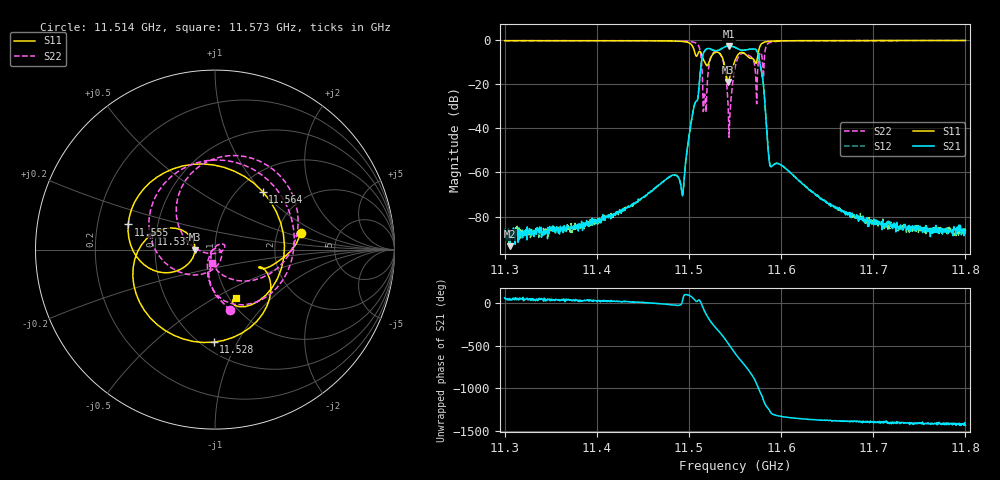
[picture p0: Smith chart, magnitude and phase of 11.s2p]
# Hz S DB R 50
! Planar, S50244, 24171007, 25.4.1/6
! Date: 15.10.2025 10:28:26
! Data: Format (Calibration Info)
! Freq	S11:dB/Ang(F2)	S21:dB/Ang(F2)	S12:dB/Ang(F2)	S22:dB/Ang(F2)
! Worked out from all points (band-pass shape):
!   1001 points, 11.3 GHz to 11.8 GHz, reference 50 ohm
!   highest |S21| = -2.77 dB at 11.543 GHz (marker M1); lowest = -93.4 dB at 11.306 GHz (marker M2)
!   |S21| within 3 dB of the highest: 11.516 GHz to 11.575 GHz (58.62 MHz wide, 0.508 % of centre)
!   lowest |S11| = -19.1 dB at 11.543 GHz (marker M3), VSWR 1.25, Z = 40 - j0.0394 ohm
!   |S11| at or under -10 dB: 11.51715 GHz to 11.52187 GHz (4.726 MHz wide, 0.041 % of centre); 11.53784 GHz to 11.54942 GHz (11.59 MHz wide, 0.1 % of centre); 11.57184 GHz to 11.57352 GHz (1.677 MHz wide, 0.0145 % of centre)
!   |S22| runs from -44.1 to -0.2 dB; largest |S21 - S12| = 0.016
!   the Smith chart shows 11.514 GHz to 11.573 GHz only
!   S11 on the Smith chart (normalised r, x): 11.514 GHz: 2.72, +0.68; 11.528 GHz: 0.57, -0.80; 11.537 GHz: 0.47, +0.09; 11.555 GHz: 0.34, +0.13; 11.564 GHz: 1.28, +1.00; 11.573 GHz: 1.07, -0.64
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1.13e10  -0.32 144.7  -85.87 62.4  -89.48 60.3  -0.31 143.1
1.13055e10  -0.32 143.6  -93.40 56.3  -86.37 48.0  -0.31 142.1
1.13835e10  -0.33 125.6  -82.13 31.4  -83.62 25.5  -0.32 126.2
1.1467e10  -0.38 82.3  -65.71 -5.0  -65.92 -4.5  -0.35 93.6
1.1493e10  -0.67 31.9  -70.43 26.7  -70.59 27.2  -0.50 64.9
1.1504e10  -2.88 -54.4  -33.40 63.5  -33.42 65.3  -0.87 34.1
1.1508e10  -7.38 176.9  -27.71 20.5  -27.45 20.9  -1.47 10.2
1.15135e10  -6.22 11.2  -10.37 -6.3  -10.47 -7.2  -9.15 -76.0
1.15175e10  -10.29 -19.5  -4.67 -106.2  -4.75 -106.2  -25.09 9.6
1.1522e10  -9.85 -24.5  -3.86 168.8  -4.02 169.0  -10.95 139.3
1.1528e10  -5.75 -90.9  -4.78 83.6  -4.80 85.2  -5.28 72.4
1.1537e10  -8.82 166.5  -3.58 -29.4  -3.42 -29.7  -9.51 -23.6
1.15425e10  -19.06 -179.7  -2.78 -112.7  -2.77 -112.9  -29.90 -132.8
1.1543e10  -18.77 -170.8  -2.77 -120.4  -2.77 -120.5  -35.69 -157.5
1.155e10  -9.36 -158.7  -3.34 132.4  -3.32 132.3  -12.48 -148.7
1.1555e10  -5.96 163.8  -4.39 62.7  -4.38 62.8  -6.87 133.7
1.1564e10  -7.57 50.6  -4.31 -56.0  -4.30 -56.3  -6.76 21.4
1.1573e10  -10.58 -66.3  -4.41 144.7  -4.47 145.0  -22.45 -103.3
1.1589e10  -0.54 -147.0  -57.41 151.6  -57.31 151.8  -0.99 -113.8
1.16335e10  -0.30 159.3  -68.58 73.3  -68.78 74.4  -0.32 163.3
1.1717e10  -0.25 129.5  -82.18 37.0  -84.81 36.9  -0.24 129.5
1.18e10  -0.22 112.4  -86.59 5.3  -87.59 17.8  -0.21 112.1
